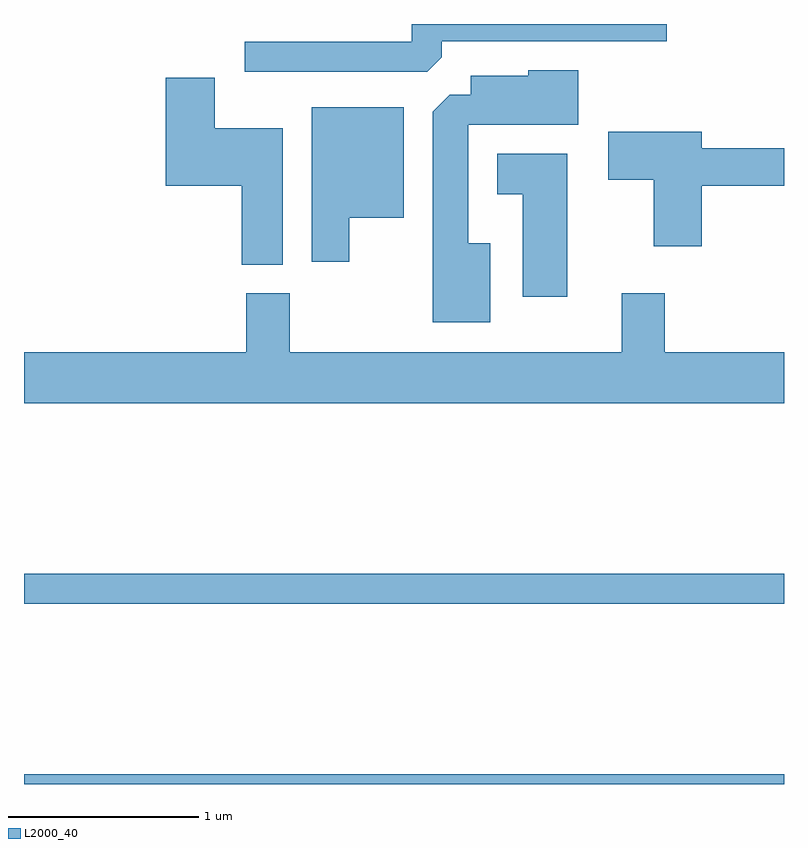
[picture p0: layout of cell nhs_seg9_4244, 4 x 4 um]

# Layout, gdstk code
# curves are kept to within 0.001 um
import gdstk
lib = gdstk.Library(unit=1e-6, precision=1e-09)
def R(c, l, rs):  # rectangles x0, y0, x1, y1
    for r in rs: c.add(gdstk.rectangle(r[:2], r[2:], *l))
def P(c, l, *ps):  # polygons
    for p in ps: c.add(gdstk.Polygon(p, *l))
L2000_40 = (2000, 40)

nhs_seg9_4244 = lib.new_cell('nhs_seg9_4244')
R(nhs_seg9_4244, L2000_40, [(309.611,2036.432,313.611,2036.484), (309.611,2037.381,313.611,2037.539)])
P(nhs_seg9_4244, L2000_40, [(311.809,2040.257),(311.809,2040.341),(312.993,2040.341),(312.993,2040.432),(311.651,2040.432),(311.651,2040.339),(310.773,2040.339),(310.773,2040.181),(311.734,2040.181)],
  [(312.064,2039.279),(311.949,2039.279),(311.949,2039.901),(312.529,2039.901),(312.529,2040.189),(312.266,2040.189),(312.266,2040.159),(311.961,2040.159),(311.961,2040.059),(311.852,2040.059),(311.761,2039.969),(311.761,2038.861),(312.064,2038.861)],
  [(310.974,2039.884),(310.614,2039.884),(310.614,2040.149),(310.356,2040.149),(310.356,2039.581),(310.756,2039.581),(310.756,2039.166),(310.974,2039.166)],
  [(311.324,2039.411),(311.609,2039.411),(311.609,2039.994),(311.126,2039.994),(311.126,2039.181),(311.324,2039.181)],
  [(313.179,2039.581),(313.611,2039.581),(313.611,2039.779),(313.179,2039.779),(313.179,2039.864),(312.686,2039.864),(312.686,2039.611),(312.926,2039.611),(312.926,2039.261),(313.179,2039.261)],
  [(312.469,2039.749),(312.101,2039.749),(312.101,2039.536),(312.236,2039.536),(312.236,2038.996),(312.469,2038.996)],
  [(313.611,2038.704),(312.984,2038.704),(312.984,2039.014),(312.756,2039.014),(312.756,2038.704),(311.009,2038.704),(311.009,2039.014),(310.781,2039.014),(310.781,2038.704),(309.611,2038.704),(309.611,2038.436),(313.611,2038.436)])

lib.write_gds('nhs_seg9_4244.gds')
